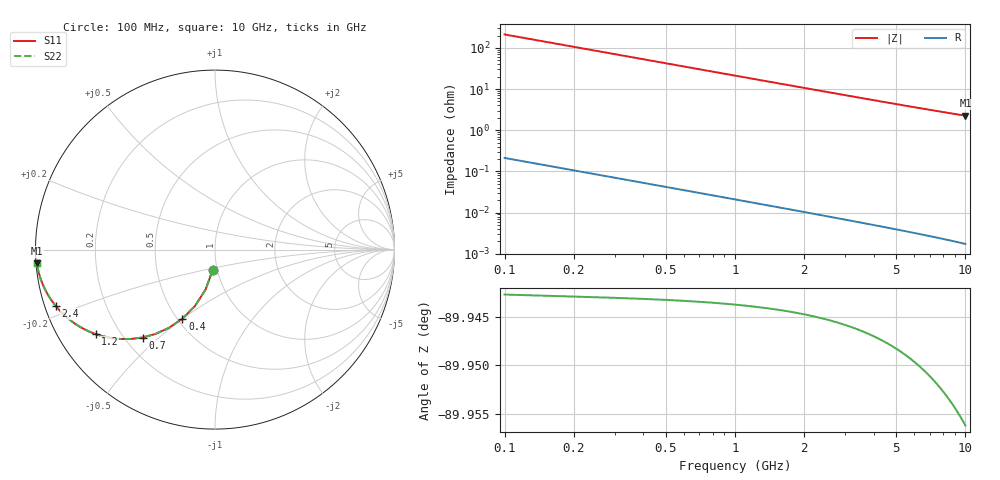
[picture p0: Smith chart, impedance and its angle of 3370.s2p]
# Hz S RI R 50.00
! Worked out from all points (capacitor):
!   100 points, 100 MHz to 10 GHz, reference 50 ohm
!   read as one part in shunt: C = 7.49 pF near 100 MHz
!   lowest |Z| = 2.26 ohm at 10 GHz (marker M1)
!   S11 on the Smith chart (normalised r, x): 100 MHz: 0.95, -0.22; 400 MHz: 0.53, -0.50; 700 MHz: 0.27, -0.44; 1.2 GHz: 0.11, -0.31; 2.4 GHz: 0.03, -0.17; 10 GHz: 0.00, -0.04
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1e8  -0.0137 -0.1159  0.9862 -0.116  0.9862 -0.116  -0.0137 -0.1159
2e8  -0.0526 -0.2227  0.9474 -0.2229  0.9474 -0.2229  -0.0526 -0.2227
3e8  -0.1109 -0.3134  0.889 -0.3137  0.889 -0.3137  -0.1109 -0.3134
4e8  -0.1814 -0.3846  0.8186 -0.3851  0.8186 -0.3851  -0.1814 -0.3846
5e8  -0.2571 -0.4362  0.7429 -0.4368  0.7429 -0.4368  -0.2571 -0.4362
6e8  -0.3325 -0.4702  0.6675 -0.471  0.6675 -0.471  -0.3325 -0.4702
7e8  -0.4039 -0.4897  0.5961 -0.4906  0.5961 -0.4906  -0.4039 -0.4897
9e8  -0.5281 -0.4981  0.4718 -0.4993  0.4718 -0.4993  -0.5281 -0.4981
1e9  -0.5801 -0.4924  0.4199 -0.4937  0.4199 -0.4937  -0.5801 -0.4924
1.2e9  -0.6653 -0.4706  0.3347 -0.4721  0.3347 -0.4721  -0.6653 -0.4706
1.3e9  -0.6999 -0.457  0.3001 -0.4586  0.3001 -0.4586  -0.6999 -0.457
1.5e9  -0.7563 -0.4279  0.2437 -0.4298  0.2437 -0.4298  -0.7563 -0.4279
1.8e9  -0.817 -0.385  0.1829 -0.3873  0.1829 -0.3873  -0.817 -0.385
2.1e9  -0.8586 -0.3465  0.1413 -0.3492  0.1413 -0.3492  -0.8586 -0.3465
2.4e9  -0.888 -0.3133  0.112 -0.3164  0.112 -0.3164  -0.888 -0.3133
2.9e9  -0.9204 -0.2683  0.0795 -0.272  0.0795 -0.272  -0.9204 -0.2683
3.4e9  -0.9408 -0.2333  0.0592 -0.2377  0.0592 -0.2377  -0.9408 -0.2333
4.2e9  -0.9604 -0.1918  0.0396 -0.1972  0.0396 -0.1972  -0.9604 -0.1918
5.1e9  -0.9728 -0.1588  0.0272 -0.1654  0.0272 -0.1654  -0.9728 -0.1588
6.7e9  -0.9841 -0.1201  0.0158 -0.1288  0.0158 -0.1288  -0.9841 -0.1201
8.4e9  -0.9899 -0.0938  0.01 -0.1049  0.01 -0.1049  -0.9899 -0.0938
1e10  -0.9929 -0.0765  0.00699 -0.0899  0.00699 -0.0899  -0.9929 -0.0765
